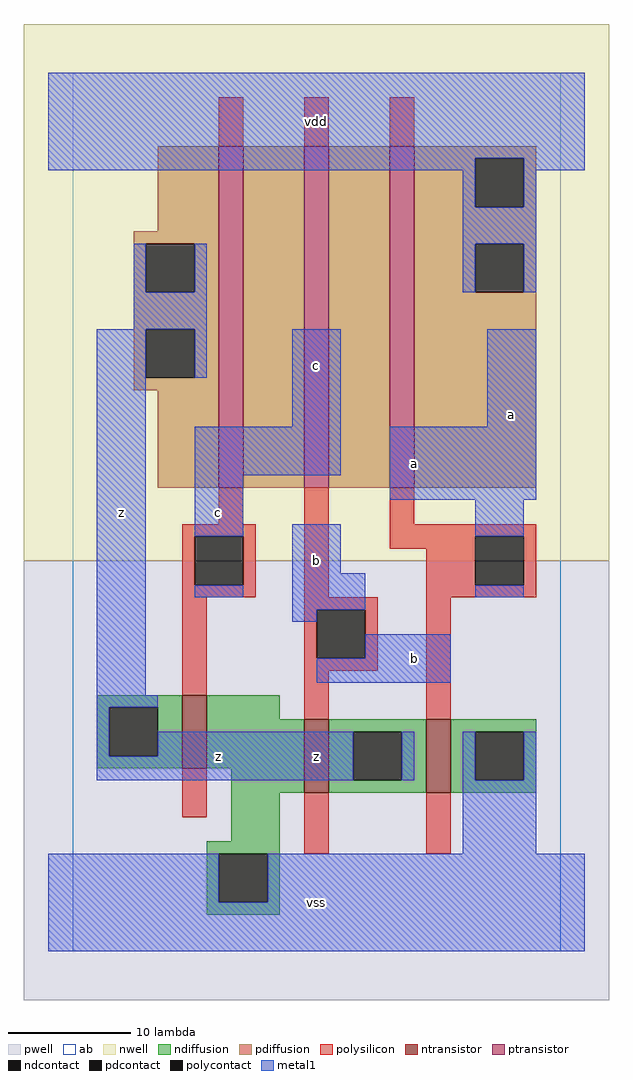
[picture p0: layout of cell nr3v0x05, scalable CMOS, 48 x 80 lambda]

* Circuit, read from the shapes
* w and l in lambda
.subckt nr3v0x05 a b c vdd vss z
M1 vss c z VSUBS nfet w=6 l=2
M2 z b vss VSUBS nfet w=6 l=2
M3 vss a z VSUBS nfet w=6 l=2
M4 n1 c z n2 pfet w=28 l=2
M5 n3 b n1 n2 pfet w=28 l=2
M6 vdd a n3 n2 pfet w=28 l=2
.ends

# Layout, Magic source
magic
tech scmos
<< ab >>
rect 0 0 40 72
<< pwell >>
rect -4 -4 44 32
<< nwell >>
rect -4 32 44 76
<< polysilicon >>
rect 12 66 14 70
rect 19 66 21 70
rect 26 66 28 70
rect 12 35 14 38
rect 9 34 15 35
rect 9 30 10 34
rect 14 30 15 34
rect 9 29 15 30
rect 19 29 21 38
rect 26 35 28 38
rect 26 34 38 35
rect 26 33 33 34
rect 29 30 33 33
rect 37 30 38 34
rect 29 29 38 30
rect 9 21 11 29
rect 19 28 25 29
rect 19 24 20 28
rect 24 24 25 28
rect 19 23 25 24
rect 19 19 21 23
rect 29 19 31 29
rect 9 11 11 15
rect 19 8 21 13
rect 29 8 31 13
<< ndiffusion >>
rect 2 20 9 21
rect 2 16 3 20
rect 7 16 9 20
rect 2 15 9 16
rect 11 19 17 21
rect 11 15 19 19
rect 13 13 19 15
rect 21 18 29 19
rect 21 14 23 18
rect 27 14 29 18
rect 21 13 29 14
rect 31 18 38 19
rect 31 14 33 18
rect 37 14 38 18
rect 31 13 38 14
rect 13 9 17 13
rect 11 8 17 9
rect 11 4 12 8
rect 16 4 17 8
rect 11 3 17 4
<< pdiffusion >>
rect 7 59 12 66
rect 5 58 12 59
rect 5 54 6 58
rect 10 54 12 58
rect 5 51 12 54
rect 5 47 6 51
rect 10 47 12 51
rect 5 46 12 47
rect 7 38 12 46
rect 14 38 19 66
rect 21 38 26 66
rect 28 65 38 66
rect 28 61 33 65
rect 37 61 38 65
rect 28 58 38 61
rect 28 54 33 58
rect 37 54 38 58
rect 28 38 38 54
<< metal1 >>
rect -2 65 42 72
rect -2 64 33 65
rect 32 61 33 64
rect 37 64 42 65
rect 37 61 38 64
rect 32 58 38 61
rect 5 54 6 58
rect 10 54 11 58
rect 32 54 33 58
rect 37 54 38 58
rect 5 51 11 54
rect 2 21 6 51
rect 10 47 11 51
rect 18 43 22 51
rect 34 43 38 51
rect 10 39 22 43
rect 10 34 14 39
rect 26 37 38 43
rect 10 29 14 30
rect 18 31 22 35
rect 33 34 37 37
rect 18 28 24 31
rect 33 29 37 30
rect 18 27 20 28
rect 24 24 31 26
rect 20 22 31 24
rect 2 20 7 21
rect 2 16 3 20
rect 7 16 23 18
rect 2 14 23 16
rect 27 14 28 18
rect 32 14 33 18
rect 37 14 38 18
rect 32 8 38 14
rect -2 4 12 8
rect 16 4 42 8
rect -2 0 42 4
<< ntransistor >>
rect 9 15 11 21
rect 19 13 21 19
rect 29 13 31 19
<< ptransistor >>
rect 12 38 14 66
rect 19 38 21 66
rect 26 38 28 66
<< polycontact >>
rect 10 30 14 34
rect 33 30 37 34
rect 20 24 24 28
<< ndcontact >>
rect 3 16 7 20
rect 23 14 27 18
rect 33 14 37 18
rect 12 4 16 8
<< pdcontact >>
rect 6 54 10 58
rect 6 47 10 51
rect 33 61 37 65
rect 33 54 37 58
<< labels >>
rlabel metal1 4 36 4 36 6 z
rlabel metal1 12 16 12 16 6 z
rlabel metal1 12 36 12 36 6 c
rlabel metal1 20 4 20 4 6 vss
rlabel metal1 20 4 20 4 6 vss
rlabel metal1 20 16 20 16 6 z
rlabel metal1 20 32 20 32 6 b
rlabel metal1 28 24 28 24 6 b
rlabel metal1 28 40 28 40 6 a
rlabel metal1 20 48 20 48 6 c
rlabel metal1 20 68 20 68 6 vdd
rlabel metal1 20 68 20 68 6 vdd
rlabel metal1 36 44 36 44 6 a
<< end >>
